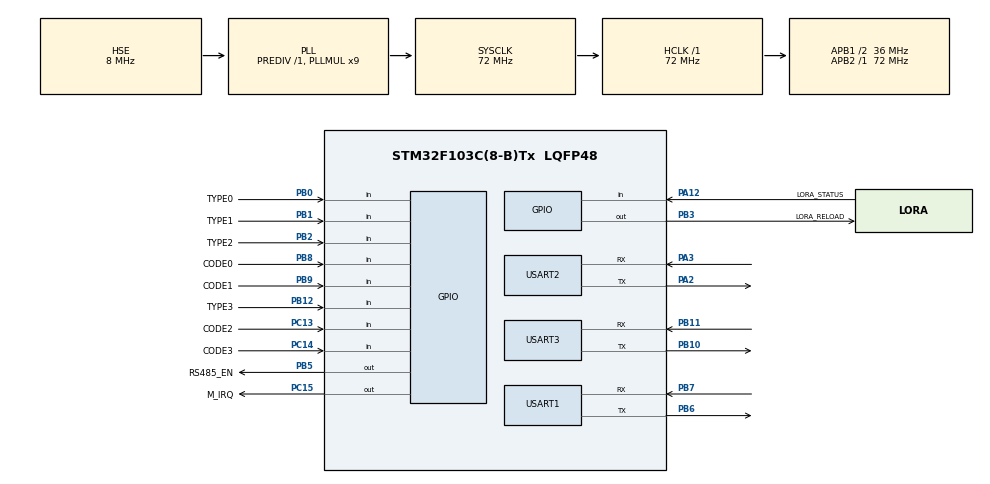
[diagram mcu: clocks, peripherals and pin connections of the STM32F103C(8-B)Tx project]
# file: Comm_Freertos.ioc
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Dma.Request0=USART1_RX
Dma.Request1=USART1_TX
Dma.Request2=USART2_RX
Dma.Request3=USART2_TX
Dma.USART1_RX.0.Direction=DMA_PERIPH_TO_MEMORY
Dma.USART1_RX.0.Instance=DMA1_Channel5
Dma.USART1_RX.0.MemDataAlignment=DMA_MDATAALIGN_BYTE
Dma.USART1_RX.0.MemInc=DMA_MINC_ENABLE
Dma.USART1_RX.0.Mode=DMA_NORMAL
Dma.USART1_RX.0.PeriphDataAlignment=DMA_PDATAALIGN_BYTE
Dma.USART1_RX.0.PeriphInc=DMA_PINC_DISABLE
Dma.USART1_RX.0.Priority=DMA_PRIORITY_LOW
Dma.USART1_TX.1.Direction=DMA_MEMORY_TO_PERIPH
Dma.USART1_TX.1.Instance=DMA1_Channel4
Dma.USART1_TX.1.MemDataAlignment=DMA_MDATAALIGN_BYTE
Dma.USART1_TX.1.MemInc=DMA_MINC_ENABLE
Dma.USART1_TX.1.Mode=DMA_NORMAL
Dma.USART1_TX.1.PeriphDataAlignment=DMA_PDATAALIGN_BYTE
Dma.USART1_TX.1.PeriphInc=DMA_PINC_DISABLE
Dma.USART1_TX.1.Priority=DMA_PRIORITY_LOW
Dma.USART2_RX.2.Direction=DMA_PERIPH_TO_MEMORY
Dma.USART2_RX.2.Instance=DMA1_Channel6
Dma.USART2_RX.2.MemDataAlignment=DMA_MDATAALIGN_BYTE
Dma.USART2_RX.2.MemInc=DMA_MINC_ENABLE
Dma.USART2_RX.2.Mode=DMA_NORMAL
Dma.USART2_RX.2.PeriphDataAlignment=DMA_PDATAALIGN_BYTE
Dma.USART2_RX.2.PeriphInc=DMA_PINC_DISABLE
Dma.USART2_RX.2.Priority=DMA_PRIORITY_LOW
Dma.USART2_TX.3.Direction=DMA_MEMORY_TO_PERIPH
Dma.USART2_TX.3.Instance=DMA1_Channel7
Dma.USART2_TX.3.MemDataAlignment=DMA_MDATAALIGN_BYTE
Dma.USART2_TX.3.MemInc=DMA_MINC_ENABLE
Dma.USART2_TX.3.Mode=DMA_NORMAL
Dma.USART2_TX.3.PeriphDataAlignment=DMA_PDATAALIGN_BYTE
Dma.USART2_TX.3.PeriphInc=DMA_PINC_DISABLE
Dma.USART2_TX.3.Priority=DMA_PRIORITY_LOW
FREERTOS.BinarySemaphores01=Comm_Recive,Dynamic,NULL;Lora_Recive,Dynamic,NULL;At_Recive,Dynamic,NULL;Shell_Sem,Dynamic,NULL
FREERTOS.MEMORY_ALLOCATION=2
FREERTOS.Mutexes01=shellMutex,Dynamic,NULL;modbusMutex,Dynamic,NULL
FREERTOS.Tasks01=shell,-2,192,shell_task,Default,Shell_Object,Dynamic,NULL,NULL;comm,0,256,comm_task,Default,Modbus_Object,Dynamic,NULL,NULL;lora,2,256,lora_task,Default,Lora_Object,Dynamic,NULL,NULL;iwdg,3,64,iwdg_task,Default,Shell_Object,Dynamic,NULL,NULL
FREERTOS.configCHECK_FOR_STACK_OVERFLOW=2
FREERTOS.configMINIMAL_STACK_SIZE=64
FREERTOS.configTOTAL_HEAP_SIZE=12288
FREERTOS.configUSE_IDLE_HOOK=1
FREERTOS.configUSE_MALLOC_FAILED_HOOK=1
FREERTOS.configUSE_TIMERS=1
IWDG.Prescaler=IWDG_PRESCALER_64
IWDG.Reload=1250
Mcu.Family=STM32F1
Mcu.Name=STM32F103C(8-B)Tx
Mcu.Package=LQFP48
NVIC.DMA1_Channel4_IRQn=true\:5\:0\:false\:false\:true\:true\:false\:true\:true
NVIC.DMA1_Channel5_IRQn=true\:5\:0\:false\:false\:true\:true\:false\:true\:true
NVIC.DMA1_Channel6_IRQn=true\:5\:0\:false\:false\:true\:true\:false\:true\:true
NVIC.DMA1_Channel7_IRQn=true\:5\:0\:false\:false\:true\:true\:false\:true\:true
NVIC.PriorityGroup=NVIC_PRIORITYGROUP_4
NVIC.TIM4_IRQn=true\:15\:0\:false\:false\:true\:false\:false\:true\:true
NVIC.TimeBase=TIM4_IRQn
NVIC.TimeBaseIP=TIM4
NVIC.USART1_IRQn=true\:5\:0\:false\:false\:true\:true\:true\:true\:true
NVIC.USART2_IRQn=true\:5\:0\:false\:false\:true\:true\:true\:true\:true
NVIC.USART3_IRQn=true\:5\:0\:false\:false\:true\:true\:true\:true\:true
PA12.GPIO_Label=LORA_STATUS
PA12.Signal=GPIO_Input
PA2.Mode=Asynchronous
PA2.Signal=USART2_TX
PA3.Mode=Asynchronous
PA3.Signal=USART2_RX
PB0.GPIO_Label=TYPE0
PB0.Signal=GPIO_Input
PB1.GPIO_Label=TYPE1
PB1.Signal=GPIO_Input
PB10.Mode=Asynchronous
PB10.Signal=USART3_TX
PB11.Mode=Asynchronous
PB11.Signal=USART3_RX
PB12.GPIO_Label=TYPE3
PB12.Signal=GPIO_Input
PB2.GPIO_Label=TYPE2
PB2.Signal=GPIO_Input
PB3.GPIO_Label=LORA_RELOAD
PB3.GPIO_PuPd=GPIO_PULLUP
PB3.PinState=GPIO_PIN_SET
PB3.Signal=GPIO_Output
PB5.GPIO_Label=RS485_EN
PB5.GPIO_Speed=GPIO_SPEED_FREQ_HIGH
PB5.Signal=GPIO_Output
PB6.Mode=Asynchronous
PB6.Signal=USART1_TX
PB7.Mode=Asynchronous
PB7.Signal=USART1_RX
PB8.GPIO_Label=CODE0
PB8.Signal=GPIO_Input
PB9.GPIO_Label=CODE1
PB9.Signal=GPIO_Input
PC13-TAMPER-RTC.GPIO_Label=CODE2
PC13-TAMPER-RTC.Signal=GPIO_Input
PC14-OSC32_IN.GPIO_Label=CODE3
PC14-OSC32_IN.Signal=GPIO_Input
PC15-OSC32_OUT.GPIO_Label=M_IRQ
PC15-OSC32_OUT.PinState=GPIO_PIN_SET
PC15-OSC32_OUT.Signal=GPIO_Output
PD0-OSC_IN.Mode=HSE-External-Oscillator
PD0-OSC_IN.Signal=RCC_OSC_IN
PD1-OSC_OUT.Mode=HSE-External-Oscillator
PD1-OSC_OUT.Signal=RCC_OSC_OUT
ProjectManager.HeapSize=0x0
ProjectManager.StackSize=0x800
ProjectManager.TargetToolchain=MDK-ARM V5.27
RCC.AHBFreq_Value=72000000
RCC.APB1CLKDivider=RCC_HCLK_DIV2
RCC.APB1Freq_Value=36000000
RCC.APB1TimFreq_Value=72000000
RCC.APB2Freq_Value=72000000
RCC.APB2TimFreq_Value=72000000
RCC.HCLKFreq_Value=72000000
RCC.PLLMUL=RCC_PLL_MUL9
RCC.PLLSourceVirtual=RCC_PLLSOURCE_HSE
RCC.SYSCLKFreq_VALUE=72000000
RCC.SYSCLKSource=RCC_SYSCLKSOURCE_PLLCLK
RCC.USBFreq_Value=72000000
USART1.VirtualMode=VM_ASYNC
USART2.VirtualMode=VM_ASYNC
USART3.VirtualMode=VM_ASYNC
VP_FREERTOS_VS_CMSIS_V1.Mode=CMSIS_V1
VP_IWDG_VS_IWDG.Mode=IWDG_Activate
VP_SYS_VS_ND.Mode=No_Debug
VP_SYS_VS_tim4.Mode=TIM4
board=custom

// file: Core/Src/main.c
/* USER CODE BEGIN Header */
/**
 ******************************************************************************
 * @file           : main.c
 * @brief          : Main program body
 ******************************************************************************
 * @attention
 *
 * Copyright (c) 2023 STMicroelectronics.
 * All rights reserved.
 *
 * This software is licensed under terms that can be found in the LICENSE file
 * in the root directory of this software component.
 * If no LICENSE file comes with this software, it is provided AS-IS.
 *
 ******************************************************************************
 */
/* USER CODE END Header */
#include "main.h"
#include "cmsis_os.h"
#include "dma.h"
#include "iwdg.h"
#include "usart.h"
#include "gpio.h"

/* USER CODE BEGIN Includes */
#include "shell_port.h"
/* USER CODE END Includes */

void SystemClock_Config(void);
void MX_FREERTOS_Init(void);

int main(void)
{

  /* MCU Configuration--------------------------------------------------------*/

  /* Reset of all peripherals, Initializes the Flash interface and the Systick. */
  HAL_Init();

  /* Configure the system clock */
  SystemClock_Config();

  /* Initialize all configured peripherals */
  MX_GPIO_Init();
  MX_DMA_Init();
  MX_USART1_UART_Init();
  MX_USART2_UART_Init();
  MX_USART3_UART_Init();
//  MX_IWDG_Init();

  /* Call init function for freertos objects (in freertos.c) */
  MX_FREERTOS_Init();

  /* Start scheduler */
  osKernelStart();

  /* We should never get here as control is now taken by the scheduler */
  /* Infinite loop */
  while (1)
  {

  }
}

void SystemClock_Config(void)
{
  RCC_OscInitTypeDef RCC_OscInitStruct = {0};
  RCC_ClkInitTypeDef RCC_ClkInitStruct = {0};

  /** Initializes the RCC Oscillators according to the specified parameters
  * in the RCC_OscInitTypeDef structure.
  */
  RCC_OscInitStruct.OscillatorType = RCC_OSCILLATORTYPE_LSI|RCC_OSCILLATORTYPE_HSE;
  RCC_OscInitStruct.HSEState = RCC_HSE_ON;
  RCC_OscInitStruct.HSEPredivValue = RCC_HSE_PREDIV_DIV1;
  RCC_OscInitStruct.HSIState = RCC_HSI_ON;
  RCC_OscInitStruct.LSIState = RCC_LSI_ON;
  RCC_OscInitStruct.PLL.PLLState = RCC_PLL_ON;
  RCC_OscInitStruct.PLL.PLLSource = RCC_PLLSOURCE_HSE;
  RCC_OscInitStruct.PLL.PLLMUL = RCC_PLL_MUL9;
  if (HAL_RCC_OscConfig(&RCC_OscInitStruct) != HAL_OK)
  {
    Error_Handler();
  }

  /** Initializes the CPU, AHB and APB buses clocks
  */
  RCC_ClkInitStruct.ClockType = RCC_CLOCKTYPE_HCLK|RCC_CLOCKTYPE_SYSCLK
                              |RCC_CLOCKTYPE_PCLK1|RCC_CLOCKTYPE_PCLK2;
  RCC_ClkInitStruct.SYSCLKSource = RCC_SYSCLKSOURCE_PLLCLK;
  RCC_ClkInitStruct.AHBCLKDivider = RCC_SYSCLK_DIV1;
  RCC_ClkInitStruct.APB1CLKDivider = RCC_HCLK_DIV2;
  RCC_ClkInitStruct.APB2CLKDivider = RCC_HCLK_DIV1;

  if (HAL_RCC_ClockConfig(&RCC_ClkInitStruct, FLASH_LATENCY_2) != HAL_OK)
  {
    Error_Handler();
  }
}

void HAL_TIM_PeriodElapsedCallback(TIM_HandleTypeDef *htim)
{
  if (htim->Instance == TIM4) {
    HAL_IncTick();
  }
}

void Error_Handler(void)
{
  /* USER CODE BEGIN Error_Handler_Debug */
  /* User can add his own implementation to report the HAL error return state */
  __disable_irq();
  while (1)
  {
    shellPrint(&shell, "system error, restart...\r\n");
    HAL_Delay(2000);
    extern void reboot(void);
    reboot();
  }
  /* USER CODE END Error_Handler_Debug */
}

#ifdef  USE_FULL_ASSERT
/**
  * @brief  Reports the name of the source file and the source line number
  *         where the assert_param error has occurred.
  * @param  file: pointer to the source file name
  * @param  line: assert_param error line source number
  * @retval None
  */
void assert_failed(uint8_t *file, uint32_t line)
{
  /* USER CODE BEGIN 6 */
  /* User can add his own implementation to report the file name and line number,
     ex: printf("Wrong parameters value: file %s on line %d\r\n", file, line) */
  shellPrint(&shell, "assertion failure, file %s on line %d\r\n", file, line);
  for (;;)
  {
  }
  /* USER CODE END 6 */
}
#endif /* USE_FULL_ASSERT */

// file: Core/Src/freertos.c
/* USER CODE BEGIN Header */
/**
 ******************************************************************************
 * File Name          : freertos.c
 * Description        : Code for freertos applications
 ******************************************************************************
 * @attention
 *
 * Copyright (c) 2023 STMicroelectronics.
 * All rights reserved.
 *
 * This software is licensed under terms that can be found in the LICENSE file
 * in the root directory of this software component.
 * If no LICENSE file comes with this software, it is provided AS-IS.
 *
 ******************************************************************************
 */
/* USER CODE END Header */

#include "FreeRTOS.h"
#include "task.h"
#include "main.h"
#include "cmsis_os.h"

/* USER CODE BEGIN Includes */
/*https://www.cnblogs.com/ydmblog/p/15308372.html*/
#include <cm_backtrace.h>
#include "shell_port.h"
#include "small_modbus_port.h"
#include "lora.h"
#include "usart.h"
/* USER CODE END Includes */

/* USER CODE BEGIN PM */
#define HARDWARE_VERSION "V1.0.0"
#define SOFTWARE_VERSION "V0.1.0"
#define Shell_Object &shell
#define Modbus_Object Modbus_Object
#define Lora_Object Lora_Object
/* USER CODE END PM */

osThreadId shellHandle;
osThreadId commHandle;
osThreadId loraHandle;
osThreadId iwdgHandle;
osMutexId shellMutexHandle;
osMutexId modbusMutexHandle;
osSemaphoreId Comm_ReciveHandle;
osSemaphoreId Lora_ReciveHandle;
osSemaphoreId At_ReciveHandle;
osSemaphoreId Shell_SemHandle;

void shell_task(void const *argument);
void comm_task(void const *argument);
void lora_task(void const *argument);
void iwdg_task(void const *argument);

void MX_FREERTOS_Init(void); /* (MISRA C 2004 rule 8.1) */

/* GetIdleTaskMemory prototype (linked to static allocation support) */
void vApplicationGetIdleTaskMemory(StaticTask_t **ppxIdleTaskTCBBuffer, StackType_t **ppxIdleTaskStackBuffer, uint32_t *pulIdleTaskStackSize);

/* GetTimerTaskMemory prototype (linked to static allocation support) */
void vApplicationGetTimerTaskMemory(StaticTask_t **ppxTimerTaskTCBBuffer, StackType_t **ppxTimerTaskStackBuffer, uint32_t *pulTimerTaskStackSize);

/* Hook prototypes */
void vApplicationIdleHook(void);
void vApplicationStackOverflowHook(xTaskHandle xTask, signed char *pcTaskName);
void vApplicationMallocFailedHook(void);

/* USER CODE BEGIN 2 */
__weak void vApplicationIdleHook(void)
{
  /* vApplicationIdleHook() will only be called if configUSE_IDLE_HOOK is set
  to 1 in FreeRTOSConfig.h. It will be called on each iteration of the idle
  task. It is essential that code added to this hook function never attempts
  to block in any way (for example, call xQueueReceive() with a block time
  specified, or call vTaskDelay()). If the application makes use of the
  vTaskDelete() API function (as this demo application does) then it is also
  important that vApplicationIdleHook() is permitted to return to its calling
  function, because it is the responsibility of the idle task to clean up
  memory allocated by the kernel to any task that has since been deleted. */
}
/* USER CODE END 2 */

/* USER CODE BEGIN 4 */
__weak void vApplicationStackOverflowHook(xTaskHandle xTask, signed char *pcTaskName)
{
  /* Run time stack overflow checking is performed if
  configCHECK_FOR_STACK_OVERFLOW is defined to 1 or 2. This hook function is
  called if a stack overflow is detected. */
  shellPrint(Shell_Object, "@error: %s is stack overflow!\r\n", pcTaskName);
}
/* USER CODE END 4 */

/* USER CODE BEGIN 5 */
__weak void vApplicationMallocFailedHook(void)
{
  /* vApplicationMallocFailedHook() will only be called if
  configUSE_MALLOC_FAILED_HOOK is set to 1 in FreeRTOSConfig.h. It is a hook
  function that will get called if a call to pvPortMalloc() fails.
  pvPortMalloc() is called internally by the kernel whenever a task, queue,
  timer or semaphore is created. It is also called by various parts of the
  demo application. If heap_1.c or heap_2.c are used, then the size of the
  heap available to pvPortMalloc() is defined by configTOTAL_HEAP_SIZE in
  FreeRTOSConfig.h, and the xPortGetFreeHeapSize() API function can be used
  to query the size of free heap space that remains (although it does not
  provide information on how the remaining heap might be fragmented). */
  shellPrint(Shell_Object, "@error: memory allocation failed!\r\nremaining\tmini\r\n\
  %#x, %#X\r\n",
             xPortGetFreeHeapSize(), xPortGetMinimumEverFreeHeapSize());
}

/**
 * @brief  Obtain card slot and board code
 * @param  None
 * @retval Card slot number and card type
 */
uint8_t get_card_id(void)
{
  GPIO_TypeDef *pGPIOx = CODE0_GPIO_Port;
  uint8_t data = 0x00; // 0xE0;
  /*PB8、PB9*/
  data |= (uint16_t)(((uint16_t)pGPIOx->IDR & 0x0300) >> 8U);
  /*PC13、PC14*/
  pGPIOx = CODE2_GPIO_Port;
  data |= (uint16_t)(((uint16_t)pGPIOx->IDR & 0x6000) >> 11U);
  /*PB0、PB1、PB2*/
  pGPIOx = TYPE0_GPIO_Port;
  data |= (uint16_t)(((uint16_t)pGPIOx->IDR & 0x0007) << 4U);
  /*PB12*/
  data |= (uint16_t)(((uint16_t)pGPIOx->IDR & 0x1000) >> 5U);
  return data;
}
/* USER CODE END 5 */

/* USER CODE BEGIN GET_IDLE_TASK_MEMORY */
static StaticTask_t xIdleTaskTCBBuffer;
static StackType_t xIdleStack[configMINIMAL_STACK_SIZE];

void vApplicationGetIdleTaskMemory(StaticTask_t **ppxIdleTaskTCBBuffer, StackType_t **ppxIdleTaskStackBuffer, uint32_t *pulIdleTaskStackSize)
{
  *ppxIdleTaskTCBBuffer = &xIdleTaskTCBBuffer;
  *ppxIdleTaskStackBuffer = &xIdleStack[0];
  *pulIdleTaskStackSize = configMINIMAL_STACK_SIZE;
  /* place for user code */
}
/* USER CODE END GET_IDLE_TASK_MEMORY */

/* USER CODE BEGIN GET_TIMER_TASK_MEMORY */
static StaticTask_t xTimerTaskTCBBuffer;
static StackType_t xTimerStack[configTIMER_TASK_STACK_DEPTH];

void vApplicationGetTimerTaskMemory(StaticTask_t **ppxTimerTaskTCBBuffer, StackType_t **ppxTimerTaskStackBuffer, uint32_t *pulTimerTaskStackSize)
{
  *ppxTimerTaskTCBBuffer = &xTimerTaskTCBBuffer;
  *ppxTimerTaskStackBuffer = &xTimerStack[0];
  *pulTimerTaskStackSize = configTIMER_TASK_STACK_DEPTH;
  /* place for user code */
}
/* USER CODE END GET_TIMER_TASK_MEMORY */

void MX_FREERTOS_Init(void)
{
  /* USER CODE BEGIN Init */
  MX_ShellInit(Shell_Object);
  MX_ModbusInit();
  MX_Lora_Init();
#if defined(USING_CMBACKTRACE)
  //  SCB->CCR |= (1 << 3); /* bit3: UNALIGN_TRP. */
  //  SCB->CCR |= (1 << 4); /* bit4: DIV_0_TRP. */
  /* CmBacktrace initialize */
  cm_backtrace_init("Comm_Freertos", HARDWARE_VERSION, SOFTWARE_VERSION);
#endif
  /* USER CODE END Init */
  /* Create the mutex(es) */
  /* definition and creation of shellMutex */
  osMutexDef(shellMutex);
  shellMutexHandle = osMutexCreate(osMutex(shellMutex));

  /* definition and creation of modbusMutex */
  osMutexDef(modbusMutex);
  modbusMutexHandle = osMutexCreate(osMutex(modbusMutex));

  /* Create the semaphores(s) */
  /* definition and creation of Comm_Recive */
  osSemaphoreDef(Comm_Recive);
  Comm_ReciveHandle = osSemaphoreCreate(osSemaphore(Comm_Recive), 1);

  /* definition and creation of Lora_Recive */
  osSemaphoreDef(Lora_Recive);
  Lora_ReciveHandle = osSemaphoreCreate(osSemaphore(Lora_Recive), 1);

  /* definition and creation of At_Recive */
  osSemaphoreDef(At_Recive);
  At_ReciveHandle = osSemaphoreCreate(osSemaphore(At_Recive), 1);

  /* definition and creation of Shell_Sem */
  osSemaphoreDef(Shell_Sem);
  Shell_SemHandle = osSemaphoreCreate(osSemaphore(Shell_Sem), 1);

  /* Create the thread(s) */
  /* definition and creation of shell */
  osThreadDef(shell, shell_task, osPriorityLow, 0, 192);
  shellHandle = osThreadCreate(osThread(shell), (void *)Shell_Object);

  /* definition and creation of comm */
  osThreadDef(comm, comm_task, osPriorityNormal, 0, 256);
  commHandle = osThreadCreate(osThread(comm), (void *)Modbus_Object);

  /* definition and creation of lora */
  osThreadDef(lora, lora_task, osPriorityHigh, 0, 256);
  loraHandle = osThreadCreate(osThread(lora), (void *)Lora_Object);

  /* definition and creation of iwdg */
  osThreadDef(iwdg, iwdg_task, osPriorityRealtime, 0, 64);
  iwdgHandle = osThreadCreate(osThread(iwdg), (void *)Shell_Object);

}

/* USER CODE BEGIN Header_shell_task */
char shell_ch;
// void HAL_UART_RxCpltCallback(UART_HandleTypeDef *huart)
//{
//     /* 判断是哪个串口触发的中断 */
//     if(huart ->Instance == USART3)
//     {
//         //调用shell处理数据的接
////		shellHandler(&shell, shell_ch);
//		osSemaphoreRelease(Shell_SemHandle);
//        //使能串口中断接收
//		HAL_UART_Receive_IT(&huart3, (uint8_t *)&shell_ch, 1);
//    }
//}
/**
 * @brief  Function implementing the shell thread.
 * @param  argument: Not used
 * @retval None
 */
/* USER CODE END Header_shell_task */
void shell_task(void const *argument)
{
  /* USER CODE BEGIN shell_task */
  // Shell *pshell = (Shell *)argument;
  HAL_UART_Receive_IT(&huart3, (uint8_t *)&shell_ch, 1);

  /* Infinite loop */
  for (;;)
  {
    shellTask((void *)argument);

    /*Direct reading is inefficient and special key values are easily lost*/
    //    if (osOK == osSemaphoreWait(Shell_SemHandle, osWaitForever))
    //    {
    //      shellHandler((Shell *)argument, shell_ch);
    //    }
  }
  /* USER CODE END shell_task */
}

/* USER CODE BEGIN Header_comm_task */
/**
 * @brief	rt_thread 初始化目标串口的串口空闲中断+DMA接收
 * @details 乒乓缓冲实现方式：https://www.cnblogs.com/puyu9495/p/15914090.html
 * @param	puart Uartx handle
 * @param p_semaphore signal handler
 * @retval  none
 */
static void free_rtos_hal_uartx_dma_info_init(void *p_semaphore, pUartHandle puart)
{
  /*Initialize target serial port DMA configuration*/
  if (puart && puart->huart && puart->phdma && puart->rx.pbuf)
  {
    __HAL_UART_ENABLE_IT((UART_HandleTypeDef *)puart->huart, UART_IT_IDLE);
    /*DMA buffer must point to an entity address!!!*/
    HAL_UART_Receive_DMA((UART_HandleTypeDef *)puart->huart, puart->rx.pbuf, puart->rx.size);
    puart->rx.count = 0;
    memset(puart->rx.pbuf, 0x00, puart->rx.size);
  }
  if (p_semaphore)
    puart->semaphore = p_semaphore;
}
/**
 * @brief Function implementing the comm thread.
 * @param argument: Not used
 * @retval None
 */
/* USER CODE END Header_comm_task */
void comm_task(void const *argument)
{
  /* USER CODE BEGIN comm_task */
  pModbusHandle pd = (pModbusHandle)argument;
  if (pd)
    free_rtos_hal_uartx_dma_info_init(Comm_ReciveHandle, &pd->Uart);

  /* Infinite loop */
  for (;;)
  {
    /*https://www.cnblogs.com/w-smile/p/11333950.html*/
    if ((osOK == osSemaphoreWait(pd->Uart.semaphore, osWaitForever)) && pd)
    {
      small_modbus_handler(pd);
#if defined(USING_DEBUG)
      shellPrint(Shell_Object, "modbus received a packet of data.\r\n");
#endif
    }
  }
  /* USER CODE END comm_task */
}

void lora_task(void const *argument)
{
  /* USER CODE BEGIN lora_task */
  pLoraHandle pl = (pLoraHandle)argument;
  if (pl)
    free_rtos_hal_uartx_dma_info_init(Lora_ReciveHandle, &pl->Uart);

  /*The number of resources available after the creation of binary semaphore is 1,
which needs to be released first*/
  osSemaphoreWait(pl->Uart.semaphore, osWaitForever);
  osSemaphoreWait(At_ReciveHandle, osWaitForever);

  /* Infinite loop */
  for (;;)
  {
    /*https://www.cnblogs.com/w-smile/p/11333950.html*/
    if ((osOK == osSemaphoreWait(pl->Uart.semaphore, LORA_SCHEDULE_TIMES)) && pl)
    {
      if (pl->Mode == Lora_Nomal_Recive)
      {
        pl->Lora_Recive_Poll(pl);
#if defined(USING_DEBUG)
        shellPrint(Shell_Object, "Lora received a packet of data.\r\n");
#endif
      }
      else
      {
        // osSemaphoreRelease(At_ReciveHandle);
      }
    }
    else
    {
      if (pl->Mode == Lora_Nomal_Recive)
        pl->Lora_Transmit_Poll(pl);
    }
  }
  /* USER CODE END lora_task */
}

/* USER CODE BEGIN Header_iwdg_task */
typedef enum
{
  irq_start,
  irq_continue,
  irq_end,
} irq_state;

typedef struct
{
  irq_state status : 7;
  GPIO_PinState irq : 1;
  uint8_t first_flag : 1;
  uint16_t counter;
} irq_sm_handle;

irq_sm_handle irq_sm;
/*First power-on sign*/
bool first_boot = false;

uint16_t TIRQ_Handle(void)
{
#define IRQ_BASE_TIMES (200U)
#define IRQ_OFFSET_TIMES (20U)
#define IRQ_LOW_TIMES (10U)
  /*Interrupt signal generation*/
  pModbusHandle pd = Modbus_Object;
  irq_sm_handle *const psm = &irq_sm;

  if (NULL == pd->Slave.pHandle)
    return IRQ_BASE_TIMES;

  /*The board model is read or the corresponding interrupt processing request is responded*/
  psm->status = *(bool *)pd->Slave.pHandle
                    ? irq_end
                : psm->first_flag
                    ? psm->status
                    : irq_start;

  switch (psm->status)
  {
  case irq_start:
  {
    psm->first_flag = true;
    if (!first_boot)
    {
      first_boot = true;
      psm->irq = GPIO_PIN_SET;
      return (pd->Slave.id
                  ? IRQ_BASE_TIMES + (pd->Slave.id * IRQ_OFFSET_TIMES)
                  : IRQ_BASE_TIMES);
    }
    else
      psm->irq = GPIO_PIN_RESET;
    psm->counter = IRQ_LOW_TIMES;
    psm->status = irq_continue;
  }
  break;
  case irq_continue:
  {
    psm->irq = GPIO_PIN_SET;
    psm->counter = IRQ_BASE_TIMES;
    psm->status = irq_start;
  }
  break;
  case irq_end:
  {
    psm->first_flag = false;
    psm->irq = GPIO_PIN_SET;
  }
  break;
  }

  HAL_GPIO_WritePin(M_IRQ_GPIO_Port, M_IRQ_Pin, psm->irq);
  return psm->counter;
}

/**
 * @brief Function implementing the iwdg thread.
 * @param argument: Not used
 * @retval None
 */
/* USER CODE END Header_iwdg_task */
void iwdg_task(void const *argument)
{
  /* USER CODE BEGIN iwdg_task */
  /*Wait for the main cpu to start:Basic delay with one more cycle*/
  osDelay(1000); //(1000 - IRQ_BASE_TIMES)
  /* Infinite loop */
  for (;;)
  {
    extern IWDG_HandleTypeDef hiwdg;
    //  HAL_IWDG_Refresh(&hiwdg);
    //    shellPrint(Shell_Object, "hello world.\r\n");
    osDelay(TIRQ_Handle());
  }
  /* USER CODE END iwdg_task */
}
